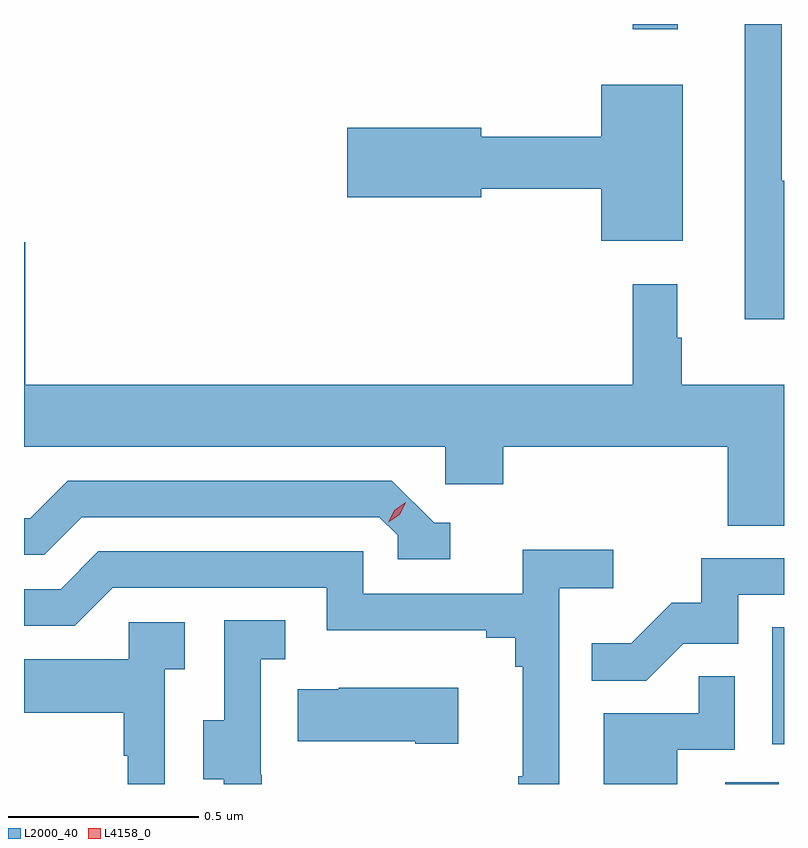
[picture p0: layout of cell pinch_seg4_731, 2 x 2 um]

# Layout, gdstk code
import gdstk
lib = gdstk.Library(unit=1e-6, precision=1e-09)
def R(c, l, rs):  # rectangles x0, y0, x1, y1
    for r in rs: c.add(gdstk.rectangle(r[:2], r[2:], *l))
def P(c, l, *ps):  # polygons
    for p in ps: c.add(gdstk.Polygon(p, *l))
L2000_40 = (2000, 40)
L4158_0 = (4158, 0)

pinch_seg4_731 = lib.new_cell('pinch_seg4_731')
R(pinch_seg4_731, L2000_40, [(838.343,825.237,838.483,825.242), (838.466,825.342,838.497,825.649), (838.099,827.223,838.217,827.237)])
P(pinch_seg4_731, L2000_40, [(838.497,826.825),(838.491,826.825),(838.491,827.237),(838.394,827.237),(838.394,826.46),(838.497,826.46)],
  [(838.231,827.077),(838.016,827.077),(838.016,826.94),(837.7,826.94),(837.7,826.964),(837.348,826.964),(837.348,826.781),(837.7,826.781),(837.7,826.804),(838.016,826.804),(838.016,826.667),(838.231,826.667)],
  [(838.497,826.288),(838.228,826.288),(838.228,826.412),(838.216,826.412),(838.216,826.552),(838.099,826.552),(838.099,826.288),(836.5,826.288),(836.5,826.663),(836.497,826.663),(836.497,826.124),(837.606,826.124),(837.606,826.026),(837.758,826.026),(837.758,826.124),(838.349,826.124),(838.349,825.916),(838.497,825.916)],
  [(837.619,825.924),(837.576,825.924),(837.465,826.035),(836.612,826.035),(836.513,825.936),(836.497,825.936),(836.497,825.84),(836.55,825.84),(836.649,825.939),(837.432,825.939),(837.48,825.891),(837.48,825.828),(837.619,825.828)],
  [(837.906,825.752),(838.048,825.752),(838.048,825.854),(837.809,825.854),(837.809,825.738),(837.39,825.738),(837.39,825.849),(836.693,825.849),(836.594,825.75),(836.497,825.75),(836.497,825.654),(836.631,825.654),(836.73,825.753),(837.294,825.753),(837.294,825.641),(837.713,825.641),(837.713,825.622),(837.79,825.622),(837.79,825.545),(837.809,825.545),(837.809,825.257),(837.798,825.257),(837.798,825.237),(837.906,825.237)],
  [(838.232,825.606),(838.377,825.606),(838.377,825.735),(838.497,825.735),(838.497,825.831),(838.279,825.831),(838.279,825.714),(838.202,825.714),(838.095,825.607),(837.991,825.607),(837.991,825.509),(838.135,825.509)],
  [(837.122,825.261),(837.12,825.261),(837.12,825.565),(837.184,825.565),(837.184,825.668),(837.024,825.668),(837.024,825.405),(836.969,825.405),(836.969,825.25),(837.023,825.25),(837.023,825.237),(837.122,825.237)],
  [(836.868,825.539),(836.92,825.539),(836.92,825.663),(836.772,825.663),(836.772,825.565),(836.497,825.565),(836.497,825.425),(836.76,825.425),(836.76,825.311),(836.77,825.311),(836.77,825.237),(836.868,825.237)],
  [(838.216,825.327),(838.368,825.327),(838.368,825.521),(838.273,825.521),(838.273,825.423),(838.022,825.423),(838.022,825.237),(838.216,825.237)],
  [(837.64,825.49),(837.325,825.49),(837.325,825.487),(837.217,825.487),(837.217,825.35),(837.527,825.35),(837.527,825.343),(837.64,825.343)])
P(pinch_seg4_731, L4158_0, [(837.455,825.926),(837.455,825.926),(837.471,825.958),(837.502,825.978),(837.502,825.978),(837.502,825.978),(837.486,825.945),(837.455,825.926)])

lib.write_gds('pinch_seg4_731.gds')
